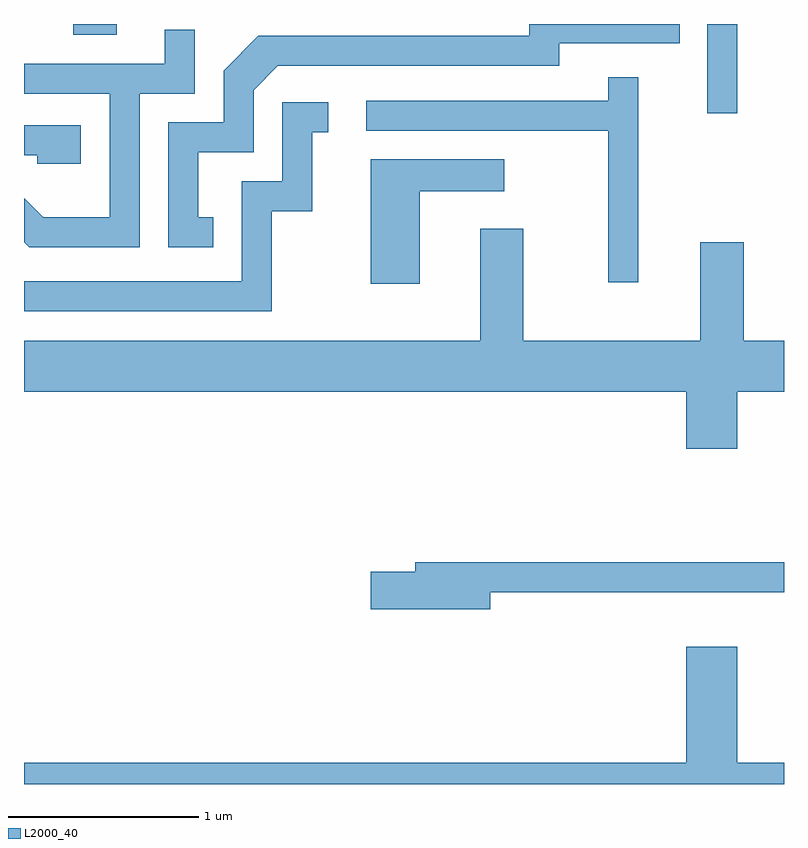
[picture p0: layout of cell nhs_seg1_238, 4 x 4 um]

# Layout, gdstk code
import gdstk
lib = gdstk.Library(unit=1e-6, precision=1e-09)
def R(c, l, rs):  # rectangles x0, y0, x1, y1
    for r in rs: c.add(gdstk.rectangle(r[:2], r[2:], *l))
def P(c, l, *ps):  # polygons
    for p in ps: c.add(gdstk.Polygon(p, *l))
L2000_40 = (2000, 40)

nhs_seg1_238 = lib.new_cell('nhs_seg1_238')
R(nhs_seg1_238, L2000_40, [(195.206,923.243,195.364,923.712), (191.871,923.656,192.099,923.712)])
P(nhs_seg1_238, L2000_40, [(192.608,922.694),(192.529,922.694),(192.529,923.036),(192.819,923.036),(192.819,923.364),(192.947,923.491),(194.429,923.491),(194.429,923.611),(195.063,923.611),(195.063,923.712),(194.271,923.712),(194.271,923.649),(192.844,923.649),(192.661,923.467),(192.661,923.194),(192.371,923.194),(192.371,922.536),(192.608,922.536)],
  [(192.219,923.346),(192.509,923.346),(192.509,923.683),(192.351,923.683),(192.351,923.504),(191.611,923.504),(191.611,923.346),(192.061,923.346),(192.061,922.694),(191.712,922.694),(191.611,922.795),(191.611,922.564),(191.639,922.536),(192.219,922.536)],
  [(194.844,923.433),(194.686,923.433),(194.686,923.309),(193.413,923.309),(193.413,923.151),(194.686,923.151),(194.686,922.353),(194.844,922.353)],
  [(192.914,922.726),(193.129,922.726),(193.129,923.141),(193.213,923.141),(193.213,923.299),(192.971,923.299),(192.971,922.884),(192.756,922.884),(192.756,922.359),(191.611,922.359),(191.611,922.201),(192.914,922.201)],
  [(191.909,923.179),(191.611,923.179),(191.611,923.021),(191.681,923.021),(191.681,922.976),(191.909,922.976)],
  [(193.694,922.831),(194.138,922.831),(194.138,922.999),(193.436,922.999),(193.436,922.346),(193.694,922.346)],
  [(195.364,921.776),(195.611,921.776),(195.611,922.044),(195.399,922.044),(195.399,922.564),(195.171,922.564),(195.171,922.044),(194.239,922.044),(194.239,922.634),(194.011,922.634),(194.011,922.044),(191.611,922.044),(191.611,921.776),(195.096,921.776),(195.096,921.476),(195.364,921.476)],
  [(194.064,920.721),(195.611,920.721),(195.611,920.879),(193.671,920.879),(193.671,920.829),(193.436,920.829),(193.436,920.631),(194.064,920.631)],
  [(195.611,919.824),(195.364,919.824),(195.364,920.434),(195.096,920.434),(195.096,919.824),(191.611,919.824),(191.611,919.712),(195.611,919.712)])

lib.write_gds('nhs_seg1_238.gds')
